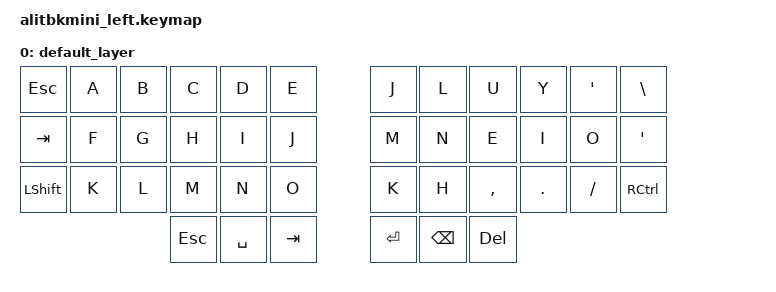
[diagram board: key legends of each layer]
#include <behaviors.dtsi>
#include <dt-bindings/zmk/keys.h>

/ {
	keymap {
		compatible = "zmk,keymap";

		default_layer {
			bindings = <
	&kp ESC   &kp A &kp B &kp C &kp D &kp E          &kp J &kp L  &kp U     &kp Y   &kp SQT  &kp BSLH
	&kp TAB   &kp F &kp G &kp H &kp I &kp J          &kp M &kp N  &kp E     &kp I   &kp O    &kp SQT
	&kp LSHFT &kp K &kp L &kp M &kp N &kp O          &kp K &kp H  &kp COMMA &kp DOT &kp FSLH &kp RCTRL
	                &kp ESC  &kp SPC &kp TAB         &kp RET &kp BSPC &kp DEL
			>;
		};
	};
};
